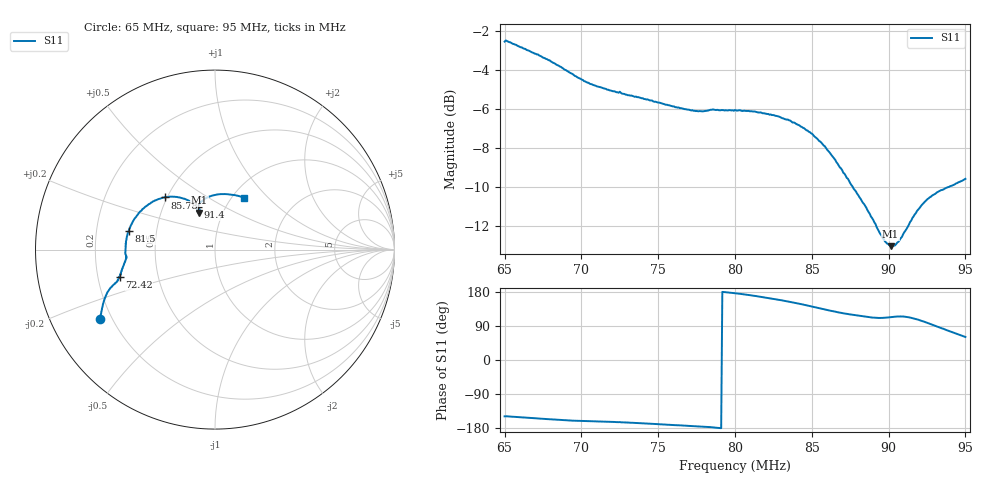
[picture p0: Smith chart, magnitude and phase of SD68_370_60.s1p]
! NanoVNA-App
! Date: 2025-08-09 12:51:38
! Start: 65MHz Stop: 95MHz Points: 401
! S-Parameter data: F S11
# Hz S RI R 50
!  Frequency  S11_Real  S11_Imag
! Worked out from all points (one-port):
!   401 points, 65 MHz to 95 MHz, reference 50 ohm
!   lowest |S11| = -13.0 dB at 90.12 MHz (marker M1), VSWR 1.57, Z = 38.8 + j16.8 ohm
!   |S11| at or under -10 dB: 87.67 MHz to 93.88 MHz (6.206 MHz wide, 6.84 % of centre)
!   S11 on the Smith chart (normalised r, x): 65 MHz: 0.16, -0.27; 72.42 MHz: 0.29, -0.13; 81.5 MHz: 0.34, +0.09; 85.78 MHz: 0.48, +0.34; 91.4 MHz: 0.74, +0.38; 95 MHz: 1.13, +0.74
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6.5e7  -0.6383 -0.3894
6.5225e7  -0.6394 -0.3868
6.7175e7  -0.6238 -0.3018
6.875e7  -0.5961 -0.2332
6.9725e7  -0.5713 -0.2014
7.07e7  -0.5507 -0.1834
7.2425e7  -0.5313 -0.1517
7.25e7  -0.5339 -0.1555
7.625e7  -0.5016 -0.0677
7.8275e7  -0.4967 -0.0297
8e7  -0.4979 0.0332
8.15e7  -0.4811 0.1024
8.27e7  -0.4526 0.1653
8.375e7  -0.4089 0.2177
8.4875e7  -0.3461 0.2681
8.5775e7  -0.2813 0.2907
8.66e7  -0.2199 0.2934
8.75e7  -0.1634 0.2796
8.9075e7  -0.0948 0.2386
8.975e7  -0.0838 0.2141
9.0125e7  -0.0869 0.2055
9.0575e7  -0.0955 0.2071
9.125e7  -0.0983 0.2303
9.14e7  -0.0964 0.2387
9.2225e7  -0.0612 0.2799
9.32e7  0.0122 0.3071
9.395e7  0.0751 0.3079
9.5e7  0.1622 0.2899
